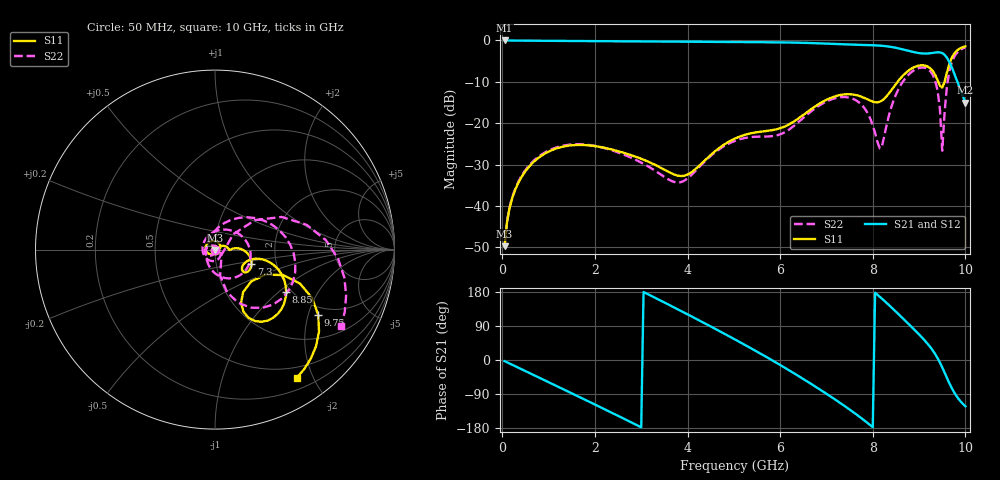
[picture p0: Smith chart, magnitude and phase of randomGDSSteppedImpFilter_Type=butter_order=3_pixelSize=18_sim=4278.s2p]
! freq	dB(S11)	phase(S11)	dB(S12)	phase(S12)
!  dB(S21)	phase(S21)	dB(S22)	phase(S22)
!S-par simulation data
#  GHz  S  DB  R 50
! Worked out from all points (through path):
!   200 points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, 50 MHz to 10 GHz, reference 50 ohm
!   highest |S21| = -0.03 dB at 50 MHz (marker M1); lowest = -15.0 dB at 10 GHz (marker M2)
!   lowest |S11| = -49.7 dB at 50 MHz (marker M3), VSWR 1.01, Z = 50.2 - j0.268 ohm
!   |S11| at or under -10 dB: start of sweep to 8.536 GHz; 9.415 GHz to 9.552 GHz (137 MHz wide, 1.45 % of centre)
!   |S22| runs from -49.6 to -1.7 dB; largest |S21 - S12| = 0
!   S11 on the Smith chart (normalised r, x): 50 MHz: 1.00, -0.01; 7.3 GHz: 1.48, -0.25; 8.85 GHz: 1.88, -1.12; 9.75 GHz: 1.72, -2.33; 10 GHz: 0.35, -1.77
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0.05  -49.69 -54.6  -0.03 -3.0  -0.03 -3.0  -49.59 -54.5
0.2  -38.63 -83.3  -0.05 -11.8  -0.05 -11.8  -38.41 -79.9
0.55  -30.86 -119.8  -0.09 -32.2  -0.09 -32.2  -30.58 -109.0
1.15  -26.16 -167.6  -0.13 -67.4  -0.13 -67.4  -25.92 -142.4
1.75  -25.26 145.2  -0.17 -102.7  -0.17 -102.7  -25.13 -170.1
2.65  -27.25 68.6  -0.23 -156.3  -0.23 -156.3  -27.71 155.4
3.4  -30.63 16.6  -0.28 158.0  -0.28 158.0  -32.22 113.3
4.25  -30.30 30.3  -0.34 104.6  -0.34 104.6  -30.61 -10.3
5.05  -23.58 12.9  -0.40 52.5  -0.40 52.5  -24.16 -88.1
5.9  -21.52 -1.2  -0.48 -6.0  -0.48 -6.0  -23.02 168.0
6.7  -16.37 0.2  -0.66 -65.5  -0.66 -65.5  -16.87 46.7
7.3  -13.19 -21.9  -0.93 -113.7  -0.93 -113.7  -13.73 -19.4
7.8  -13.81 -37.9  -1.10 -157.8  -1.10 -157.8  -16.07 -76.8
8.15  -14.84 -24.7  -1.27 167.1  -1.27 167.1  -26.06 -178.9
8.35  -12.78 -12.8  -1.51 144.9  -1.51 144.9  -18.09 81.9
8.85  -6.74 -30.5  -2.75 85.9  -2.75 85.9  -7.52 3.5
9.35  -8.38 -65.4  -2.94 15.0  -2.94 15.0  -9.80 -66.4
9.45  -10.94 -56.5  -2.90 -6.8  -2.90 -6.8  -16.59 -78.8
9.5  -11.41 -41.4  -3.07 -19.4  -3.07 -19.4  -26.65 -38.2
9.6  -7.84 -20.5  -4.17 -46.9  -4.17 -46.9  -11.14 36.4
9.75  -3.34 -32.3  -7.75 -83.9  -7.75 -83.9  -4.16 4.9
10  -1.44 -57.5  -15.03 -122.2  -15.03 -122.2  -1.71 -31.1
